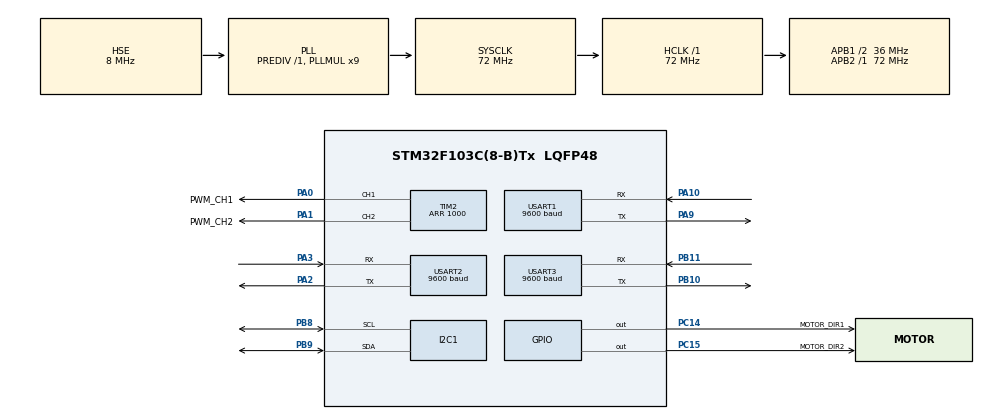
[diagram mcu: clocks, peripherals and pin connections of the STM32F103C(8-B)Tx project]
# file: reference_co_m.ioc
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Dma.I2C1_RX.1.Direction=DMA_PERIPH_TO_MEMORY
Dma.I2C1_RX.1.Instance=DMA1_Channel7
Dma.I2C1_RX.1.MemDataAlignment=DMA_MDATAALIGN_BYTE
Dma.I2C1_RX.1.MemInc=DMA_MINC_ENABLE
Dma.I2C1_RX.1.Mode=DMA_NORMAL
Dma.I2C1_RX.1.PeriphDataAlignment=DMA_PDATAALIGN_BYTE
Dma.I2C1_RX.1.PeriphInc=DMA_PINC_DISABLE
Dma.I2C1_RX.1.Priority=DMA_PRIORITY_LOW
Dma.I2C1_TX.0.Direction=DMA_MEMORY_TO_PERIPH
Dma.I2C1_TX.0.Instance=DMA1_Channel6
Dma.I2C1_TX.0.MemDataAlignment=DMA_MDATAALIGN_BYTE
Dma.I2C1_TX.0.MemInc=DMA_MINC_ENABLE
Dma.I2C1_TX.0.Mode=DMA_NORMAL
Dma.I2C1_TX.0.PeriphDataAlignment=DMA_PDATAALIGN_BYTE
Dma.I2C1_TX.0.PeriphInc=DMA_PINC_DISABLE
Dma.I2C1_TX.0.Priority=DMA_PRIORITY_LOW
Dma.Request0=I2C1_TX
Dma.Request1=I2C1_RX
I2C1.I2C_Mode=I2C_Fast
Mcu.Family=STM32F1
Mcu.Name=STM32F103C(8-B)Tx
Mcu.Package=LQFP48
NVIC.DMA1_Channel6_IRQn=true\:0\:0\:false\:false\:true\:false
NVIC.DMA1_Channel7_IRQn=true\:0\:0\:false\:false\:true\:false
NVIC.PriorityGroup=NVIC_PRIORITYGROUP_4
NVIC.USART1_IRQn=true\:0\:0\:false\:false\:true\:true
NVIC.USART2_IRQn=true\:0\:0\:false\:false\:true\:true
NVIC.USART3_IRQn=true\:0\:0\:false\:false\:true\:true
PA0-WKUP.GPIO_Label=PWM_CH1
PA0-WKUP.Signal=S_TIM2_CH1_ETR
PA1.GPIO_Label=PWM_CH2
PA1.Signal=S_TIM2_CH2
PA10.Mode=Asynchronous
PA10.Signal=USART1_RX
PA13.Mode=Serial_Wire
PA13.Signal=SYS_JTMS-SWDIO
PA14.Mode=Serial_Wire
PA14.Signal=SYS_JTCK-SWCLK
PA2.Mode=Asynchronous
PA2.Signal=USART2_TX
PA3.Mode=Asynchronous
PA3.Signal=USART2_RX
PA9.Mode=Asynchronous
PA9.Signal=USART1_TX
PB10.Mode=Asynchronous
PB10.Signal=USART3_TX
PB11.Mode=Asynchronous
PB11.Signal=USART3_RX
PB8.Mode=I2C
PB8.Signal=I2C1_SCL
PB9.GPIO_Mode=GPIO_MODE_AF_OD
PB9.GPIO_Speed=GPIO_SPEED_FREQ_HIGH
PB9.Mode=I2C
PB9.Signal=I2C1_SDA
PC14-OSC32_IN.GPIO_Label=MOTOR_DIR1
PC14-OSC32_IN.Signal=GPIO_Output
PC15-OSC32_OUT.GPIO_Label=MOTOR_DIR2
PC15-OSC32_OUT.Signal=GPIO_Output
PD0-OSC_IN.Mode=HSE-External-Oscillator
PD0-OSC_IN.Signal=RCC_OSC_IN
PD1-OSC_OUT.Mode=HSE-External-Oscillator
PD1-OSC_OUT.Signal=RCC_OSC_OUT
ProjectManager.HeapSize=0x200
ProjectManager.StackSize=0x400
ProjectManager.TargetToolchain=SW4STM32
RCC.AHBFreq_Value=72000000
RCC.APB1CLKDivider=RCC_HCLK_DIV2
RCC.APB1Freq_Value=36000000
RCC.APB1TimFreq_Value=72000000
RCC.APB2Freq_Value=72000000
RCC.APB2TimFreq_Value=72000000
RCC.HCLKFreq_Value=72000000
RCC.PLLMUL=RCC_PLL_MUL9
RCC.PLLSourceVirtual=RCC_PLLSOURCE_HSE
RCC.SYSCLKFreq_VALUE=72000000
RCC.SYSCLKSource=RCC_SYSCLKSOURCE_PLLCLK
RCC.USBFreq_Value=72000000
SH.S_TIM2_CH1_ETR.0=TIM2_CH1,PWM Generation1 CH1
SH.S_TIM2_CH2.0=TIM2_CH2,PWM Generation2 CH2
TIM2.Channel-PWM\ Generation1\ CH1=TIM_CHANNEL_1
TIM2.Channel-PWM\ Generation2\ CH2=TIM_CHANNEL_2
TIM2.Period=1000
TIM2.Pulse-PWM\ Generation1\ CH1=500
TIM2.Pulse-PWM\ Generation2\ CH2=500
USART1.BaudRate=9600
USART1.VirtualMode=VM_ASYNC
USART2.BaudRate=9600
USART2.VirtualMode=VM_ASYNC
USART3.BaudRate=9600
USART3.VirtualMode=VM_ASYNC
board=custom

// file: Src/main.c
/**
  ******************************************************************************
  * @file           : main.c
  * @brief          : Main program body
  ******************************************************************************
  ** This notice applies to any and all portions of this file
  * that are not between comment pairs USER CODE BEGIN and
  * USER CODE END. Other portions of this file, whether
  * inserted by the user or by software development tools
  * are owned by their respective copyright owners.
  *
  * COPYRIGHT(c) 2018 STMicroelectronics
  *
  * Redistribution and use in source and binary forms, with or without modification,
  * are permitted provided that the following conditions are met:
  *   1. Redistributions of source code must retain the above copyright notice,
  *      this list of conditions and the following disclaimer.
  *   2. Redistributions in binary form must reproduce the above copyright notice,
  *      this list of conditions and the following disclaimer in the documentation
  *      and/or other materials provided with the distribution.
  *   3. Neither the name of STMicroelectronics nor the names of its contributors
  *      may be used to endorse or promote products derived from this software
  *      without specific prior written permission.
  *
  * THIS SOFTWARE IS PROVIDED BY THE COPYRIGHT HOLDERS AND CONTRIBUTORS "AS IS"
  * AND ANY EXPRESS OR IMPLIED WARRANTIES, INCLUDING, BUT NOT LIMITED TO, THE
  * IMPLIED WARRANTIES OF MERCHANTABILITY AND FITNESS FOR A PARTICULAR PURPOSE ARE
  * DISCLAIMED. IN NO EVENT SHALL THE COPYRIGHT HOLDER OR CONTRIBUTORS BE LIABLE
  * FOR ANY DIRECT, INDIRECT, INCIDENTAL, SPECIAL, EXEMPLARY, OR CONSEQUENTIAL
  * DAMAGES (INCLUDING, BUT NOT LIMITED TO, PROCUREMENT OF SUBSTITUTE GOODS OR
  * SERVICES; LOSS OF USE, DATA, OR PROFITS; OR BUSINESS INTERRUPTION) HOWEVER
  * CAUSED AND ON ANY THEORY OF LIABILITY, WHETHER IN CONTRACT, STRICT LIABILITY,
  * OR TORT (INCLUDING NEGLIGENCE OR OTHERWISE) ARISING IN ANY WAY OUT OF THE USE
  * OF THIS SOFTWARE, EVEN IF ADVISED OF THE POSSIBILITY OF SUCH DAMAGE.
  *
  ******************************************************************************
  */
#include "main.h"
#include "stm32f1xx_hal.h"

/* USER CODE BEGIN Includes */
#include "rebot_motor.h"
#include "dev/display/ssd1306.h"
#include "dev/font/fonts.h"
#include "dev/connectivity/hc_06.h"
/* USER CODE END Includes */

I2C_HandleTypeDef hi2c1;
DMA_HandleTypeDef hdma_i2c1_tx;
DMA_HandleTypeDef hdma_i2c1_rx;

TIM_HandleTypeDef htim2;

UART_HandleTypeDef huart2;
UART_HandleTypeDef huart3;

/* USER CODE BEGIN PV */
/* Private variables ---------------------------------------------------------*/

/* USER CODE END PV */

void SystemClock_Config(void);
static void MX_GPIO_Init(void);
static void MX_DMA_Init(void);
static void MX_USART1_UART_Init(void);
static void MX_USART2_UART_Init(void);
static void MX_USART3_UART_Init(void);
static void MX_I2C1_Init(void);
static void MX_TIM2_Init(void);

void HAL_TIM_MspPostInit(TIM_HandleTypeDef *htim);

/* USER CODE BEGIN PFP */
/* Private function prototypes -----------------------------------------------*/

/* USER CODE END PFP */

/* USER CODE BEGIN 0 */
#if 1
int _write(int file, char* data, int len) {
	HAL_StatusTypeDef status =
		HAL_UART_Transmit(&huart2, (uint8_t*)data, len, 1000);
	return (status == HAL_OK ? len : 0);
}
#endif
void USART_Rx_Callback(USART_TypeDef* uart) {
  hc06_usart_rx_callback(uart);
}
#if 0
void HAL_UART_RxCpltCallback(UART_HandleTypeDef *huart) {
}
#endif

/* USER CODE END 0 */

int main(void)
{
  /* USER CODE BEGIN 1 */
	char data[128];
	RebotMotor rebotMotor;
  /* USER CODE END 1 */

  /* MCU Configuration----------------------------------------------------------*/

  /* Reset of all peripherals, Initializes the Flash interface and the Systick. */
  HAL_Init();

  /* Configure the system clock */
  SystemClock_Config();

  /* Initialize all configured peripherals */
  MX_GPIO_Init();
  MX_DMA_Init();
  MX_USART1_UART_Init();
  MX_USART2_UART_Init();
  MX_USART3_UART_Init();
  MX_I2C1_Init();
  MX_TIM2_Init();
  /* USER CODE BEGIN 2 */
  memset(data, 0, sizeof(data));

  // display
  ssd1306_Init();
  HAL_Delay(1000);
  ssd1306_Fill(White);
  ssd1306_SetCursor(23,23);
  ssd1306_WriteString("CO-M", Font_11x18, Black);
  ssd1306_SetCursor(23,43);
    ssd1306_WriteString("RE:BOT", Font_11x18, Black);
  ssd1306_UpdateScreen();

  // motor
  rebotMotor.left.pwm = &htim2;
  rebotMotor.left.channel = TIM_CHANNEL_1;
  rebotMotor.left.directionPin.group = GPIOC;
  rebotMotor.left.directionPin.pin = MOTOR_DIR1_Pin;

  rebotMotor.right.pwm = &htim2;
  rebotMotor.right.channel = TIM_CHANNEL_2;
  rebotMotor.right.directionPin.group = GPIOC;
  rebotMotor.right.directionPin.pin = MOTOR_DIR2_Pin;

  rebot_init(&rebotMotor);

  // bluetooth
  hc06_init(USART1);

  /* USER CODE END 2 */

  /* Infinite loop */
  /* USER CODE BEGIN WHILE */
  while (1)
  {
	if (dequeue(&hc06MessageQueue_, data) > 0) {
#if 0
		ssd1306_Fill(White);
		ssd1306_SetCursor(23,23);
		switch(data[0]) {
		case 'A':
			rebot_forward(&rebotMotor, REBOT_MOTOR_MAX);
			ssd1306_WriteString("Forward",Font_11x18,Black);
			break;
		case 'B':
			rebot_stop(&rebotMotor);
			ssd1306_WriteString("Backward",Font_11x18,Black);
			break;
		case 'C':
			rebot_turn_left(&rebotMotor);
			ssd1306_WriteString("Turn left",Font_11x18,Black);
			break;
		case 'D':
			rebot_turn_right(&rebotMotor);
			ssd1306_WriteString("Turn right",Font_11x18,Black);
			break;
		default:
			HAL_Delay(200);
		}
		ssd1306_UpdateScreen();
		memset(data, 0, sizeof(data));
#endif
		rebot_data_parser(&rebotMotor, data);
		memset(data, 0, sizeof(data));
	}

#if 0
	  ssd1306_SetCursor(23,23);
	  ssd1306_WriteString("SEOUL",Font_11x18,Black);
	  ssd1306_UpdateScreen();
	  HAL_TIM_PWM_Start(&htim2, TIM_CHANNEL_1);
	  	HAL_TIM_PWM_Start(&htim2, TIM_CHANNEL_2);
	  HAL_Delay(1000);
	  ssd1306_SetCursor(23,23);
	  ssd1306_Fill(White);
	  ssd1306_WriteString("HUB",Font_11x18,Black);
	  ssd1306_UpdateScreen();
	  HAL_TIM_PWM_Stop(&htim2, TIM_CHANNEL_1);
	  HAL_TIM_PWM_Stop(&htim2, TIM_CHANNEL_2);
	  HAL_Delay(1000);
#endif
  /* USER CODE END WHILE */

  }

}

void SystemClock_Config(void)
{

  RCC_OscInitTypeDef RCC_OscInitStruct;
  RCC_ClkInitTypeDef RCC_ClkInitStruct;

    /**Initializes the CPU, AHB and APB busses clocks
    */
  RCC_OscInitStruct.OscillatorType = RCC_OSCILLATORTYPE_HSE;
  RCC_OscInitStruct.HSEState = RCC_HSE_ON;
  RCC_OscInitStruct.HSEPredivValue = RCC_HSE_PREDIV_DIV1;
  RCC_OscInitStruct.HSIState = RCC_HSI_ON;
  RCC_OscInitStruct.PLL.PLLState = RCC_PLL_ON;
  RCC_OscInitStruct.PLL.PLLSource = RCC_PLLSOURCE_HSE;
  RCC_OscInitStruct.PLL.PLLMUL = RCC_PLL_MUL9;
  if (HAL_RCC_OscConfig(&RCC_OscInitStruct) != HAL_OK)
  {
    _Error_Handler(__FILE__, __LINE__);
  }

    /**Initializes the CPU, AHB and APB busses clocks
    */
  RCC_ClkInitStruct.ClockType = RCC_CLOCKTYPE_HCLK|RCC_CLOCKTYPE_SYSCLK
                              |RCC_CLOCKTYPE_PCLK1|RCC_CLOCKTYPE_PCLK2;
  RCC_ClkInitStruct.SYSCLKSource = RCC_SYSCLKSOURCE_PLLCLK;
  RCC_ClkInitStruct.AHBCLKDivider = RCC_SYSCLK_DIV1;
  RCC_ClkInitStruct.APB1CLKDivider = RCC_HCLK_DIV2;
  RCC_ClkInitStruct.APB2CLKDivider = RCC_HCLK_DIV1;

  if (HAL_RCC_ClockConfig(&RCC_ClkInitStruct, FLASH_LATENCY_2) != HAL_OK)
  {
    _Error_Handler(__FILE__, __LINE__);
  }

    /**Configure the Systick interrupt time
    */
  HAL_SYSTICK_Config(HAL_RCC_GetHCLKFreq()/1000);

    /**Configure the Systick
    */
  HAL_SYSTICK_CLKSourceConfig(SYSTICK_CLKSOURCE_HCLK);

  /* SysTick_IRQn interrupt configuration */
  HAL_NVIC_SetPriority(SysTick_IRQn, 0, 0);
}

/* I2C1 init function */
static void MX_I2C1_Init(void)
{

  hi2c1.Instance = I2C1;
  hi2c1.Init.ClockSpeed = 400000;
  hi2c1.Init.DutyCycle = I2C_DUTYCYCLE_2;
  hi2c1.Init.OwnAddress1 = 0;
  hi2c1.Init.AddressingMode = I2C_ADDRESSINGMODE_7BIT;
  hi2c1.Init.DualAddressMode = I2C_DUALADDRESS_DISABLE;
  hi2c1.Init.OwnAddress2 = 0;
  hi2c1.Init.GeneralCallMode = I2C_GENERALCALL_DISABLE;
  hi2c1.Init.NoStretchMode = I2C_NOSTRETCH_DISABLE;
  if (HAL_I2C_Init(&hi2c1) != HAL_OK)
  {
    _Error_Handler(__FILE__, __LINE__);
  }

}

/* TIM2 init function */
static void MX_TIM2_Init(void)
{

  TIM_MasterConfigTypeDef sMasterConfig;
  TIM_OC_InitTypeDef sConfigOC;

  htim2.Instance = TIM2;
  htim2.Init.Prescaler = 0;
  htim2.Init.CounterMode = TIM_COUNTERMODE_UP;
  htim2.Init.Period = 1000;
  htim2.Init.ClockDivision = TIM_CLOCKDIVISION_DIV1;
  htim2.Init.AutoReloadPreload = TIM_AUTORELOAD_PRELOAD_DISABLE;
  if (HAL_TIM_PWM_Init(&htim2) != HAL_OK)
  {
    _Error_Handler(__FILE__, __LINE__);
  }

  sMasterConfig.MasterOutputTrigger = TIM_TRGO_RESET;
  sMasterConfig.MasterSlaveMode = TIM_MASTERSLAVEMODE_DISABLE;
  if (HAL_TIMEx_MasterConfigSynchronization(&htim2, &sMasterConfig) != HAL_OK)
  {
    _Error_Handler(__FILE__, __LINE__);
  }

  sConfigOC.OCMode = TIM_OCMODE_PWM1;
  sConfigOC.Pulse = 500;
  sConfigOC.OCPolarity = TIM_OCPOLARITY_HIGH;
  sConfigOC.OCFastMode = TIM_OCFAST_DISABLE;
  if (HAL_TIM_PWM_ConfigChannel(&htim2, &sConfigOC, TIM_CHANNEL_1) != HAL_OK)
  {
    _Error_Handler(__FILE__, __LINE__);
  }

  if (HAL_TIM_PWM_ConfigChannel(&htim2, &sConfigOC, TIM_CHANNEL_2) != HAL_OK)
  {
    _Error_Handler(__FILE__, __LINE__);
  }

  HAL_TIM_MspPostInit(&htim2);

}

/* USART1 init function */
static void MX_USART1_UART_Init(void)
{

  LL_USART_InitTypeDef USART_InitStruct;

  LL_GPIO_InitTypeDef GPIO_InitStruct;

  /* Peripheral clock enable */
  LL_APB2_GRP1_EnableClock(LL_APB2_GRP1_PERIPH_USART1);

  /**USART1 GPIO Configuration
  PA9   ------> USART1_TX
  PA10   ------> USART1_RX
  */
  GPIO_InitStruct.Pin = LL_GPIO_PIN_9;
  GPIO_InitStruct.Mode = LL_GPIO_MODE_ALTERNATE;
  GPIO_InitStruct.Speed = LL_GPIO_SPEED_FREQ_HIGH;
  GPIO_InitStruct.OutputType = LL_GPIO_OUTPUT_PUSHPULL;
  LL_GPIO_Init(GPIOA, &GPIO_InitStruct);

  GPIO_InitStruct.Pin = LL_GPIO_PIN_10;
  GPIO_InitStruct.Mode = LL_GPIO_MODE_FLOATING;
  LL_GPIO_Init(GPIOA, &GPIO_InitStruct);

  /* USART1 interrupt Init */
  NVIC_SetPriority(USART1_IRQn, NVIC_EncodePriority(NVIC_GetPriorityGrouping(),0, 0));
  NVIC_EnableIRQ(USART1_IRQn);

  USART_InitStruct.BaudRate = 9600;
  USART_InitStruct.DataWidth = LL_USART_DATAWIDTH_8B;
  USART_InitStruct.StopBits = LL_USART_STOPBITS_1;
  USART_InitStruct.Parity = LL_USART_PARITY_NONE;
  USART_InitStruct.TransferDirection = LL_USART_DIRECTION_TX_RX;
  USART_InitStruct.HardwareFlowControl = LL_USART_HWCONTROL_NONE;
  LL_USART_Init(USART1, &USART_InitStruct);

  LL_USART_ConfigAsyncMode(USART1);

  LL_USART_Enable(USART1);

}

/* USART2 init function */
static void MX_USART2_UART_Init(void)
{

  huart2.Instance = USART2;
  huart2.Init.BaudRate = 9600;
  huart2.Init.WordLength = UART_WORDLENGTH_8B;
  huart2.Init.StopBits = UART_STOPBITS_1;
  huart2.Init.Parity = UART_PARITY_NONE;
  huart2.Init.Mode = UART_MODE_TX_RX;
  huart2.Init.HwFlowCtl = UART_HWCONTROL_NONE;
  huart2.Init.OverSampling = UART_OVERSAMPLING_16;
  if (HAL_UART_Init(&huart2) != HAL_OK)
  {
    _Error_Handler(__FILE__, __LINE__);
  }

}

/* USART3 init function */
static void MX_USART3_UART_Init(void)
{

  huart3.Instance = USART3;
  huart3.Init.BaudRate = 9600;
  huart3.Init.WordLength = UART_WORDLENGTH_8B;
  huart3.Init.StopBits = UART_STOPBITS_1;
  huart3.Init.Parity = UART_PARITY_NONE;
  huart3.Init.Mode = UART_MODE_TX_RX;
  huart3.Init.HwFlowCtl = UART_HWCONTROL_NONE;
  huart3.Init.OverSampling = UART_OVERSAMPLING_16;
  if (HAL_UART_Init(&huart3) != HAL_OK)
  {
    _Error_Handler(__FILE__, __LINE__);
  }

}

static void MX_DMA_Init(void)
{
  /* DMA controller clock enable */
  __HAL_RCC_DMA1_CLK_ENABLE();

  /* DMA interrupt init */
  /* DMA1_Channel6_IRQn interrupt configuration */
  HAL_NVIC_SetPriority(DMA1_Channel6_IRQn, 0, 0);
  HAL_NVIC_EnableIRQ(DMA1_Channel6_IRQn);
  /* DMA1_Channel7_IRQn interrupt configuration */
  HAL_NVIC_SetPriority(DMA1_Channel7_IRQn, 0, 0);
  HAL_NVIC_EnableIRQ(DMA1_Channel7_IRQn);

}

/** Configure pins as
        * Analog
        * Input
        * Output
        * EVENT_OUT
        * EXTI
*/
static void MX_GPIO_Init(void)
{

  GPIO_InitTypeDef GPIO_InitStruct;

  /* GPIO Ports Clock Enable */
  __HAL_RCC_GPIOC_CLK_ENABLE();
  __HAL_RCC_GPIOD_CLK_ENABLE();
  __HAL_RCC_GPIOA_CLK_ENABLE();
  __HAL_RCC_GPIOB_CLK_ENABLE();

  /*Configure GPIO pin Output Level */
  HAL_GPIO_WritePin(GPIOC, MOTOR_DIR1_Pin|MOTOR_DIR2_Pin, GPIO_PIN_RESET);

  /*Configure GPIO pins : MOTOR_DIR1_Pin MOTOR_DIR2_Pin */
  GPIO_InitStruct.Pin = MOTOR_DIR1_Pin|MOTOR_DIR2_Pin;
  GPIO_InitStruct.Mode = GPIO_MODE_OUTPUT_PP;
  GPIO_InitStruct.Pull = GPIO_NOPULL;
  GPIO_InitStruct.Speed = GPIO_SPEED_FREQ_LOW;
  HAL_GPIO_Init(GPIOC, &GPIO_InitStruct);

}

void _Error_Handler(char *file, int line)
{
  while(1)
  {
  }
}

/************************ (C) COPYRIGHT STMicroelectronics *****END OF FILE****/
